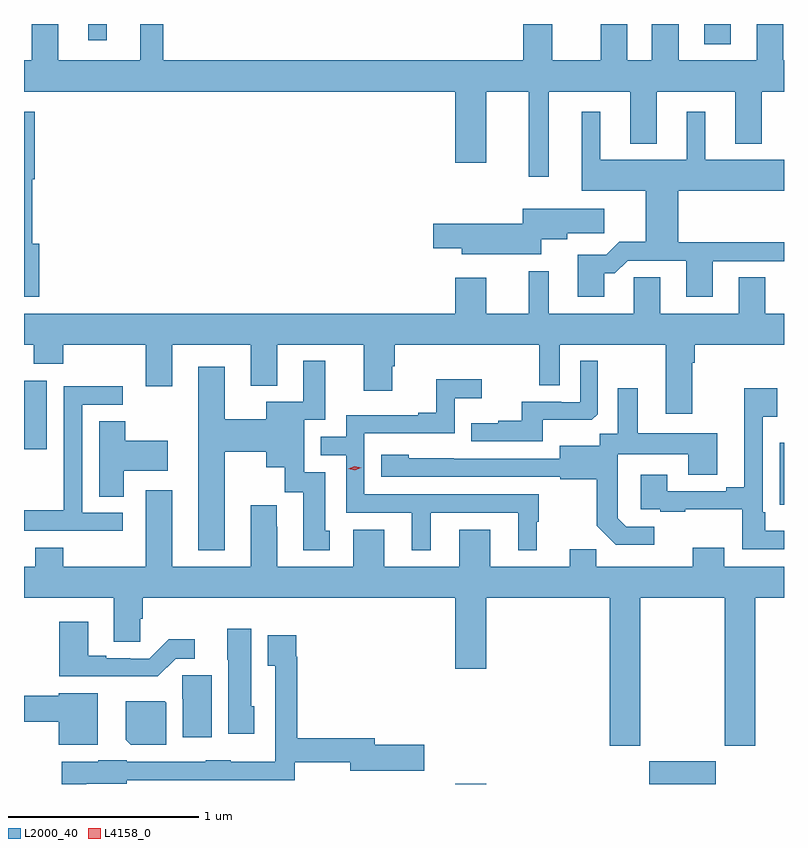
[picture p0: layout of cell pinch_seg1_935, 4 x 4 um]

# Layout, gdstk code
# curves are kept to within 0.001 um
import gdstk
lib = gdstk.Library(unit=1e-6, precision=1e-09)
def R(c, l, rs):  # rectangles x0, y0, x1, y1
    for r in rs: c.add(gdstk.rectangle(r[:2], r[2:], *l))
def P(c, l, *ps):  # polygons
    for p in ps: c.add(gdstk.Polygon(p, *l))
L2000_40 = (2000, 40)
L4158_0 = (4158, 0)

pinch_seg1_935 = lib.new_cell('pinch_seg1_935')
R(pinch_seg1_935, L2000_40, [(153.02,534.768,153.184,534.769), (154.04,534.768,154.39,534.889), (154.728,536.237,154.75,536.563), (150.75,536.529,150.871,536.89), (154.331,538.661,154.471,538.768), (151.088,538.683,151.186,538.768)])
P(pinch_seg1_935, L2000_40, [(153.511,538.412),(153.941,538.412),(153.941,538.139),(154.081,538.139),(154.081,538.412),(154.493,538.412),(154.493,538.139),(154.633,538.139),(154.633,538.412),(154.75,538.412),(154.75,538.576),(154.747,538.576),(154.747,538.768),(154.607,538.768),(154.607,538.576),(154.195,538.576),(154.195,538.768),(154.055,538.768),(154.055,538.576),(153.925,538.576),(153.925,538.768),(153.785,538.768),(153.785,538.576),(153.529,538.576),(153.529,538.768),(153.377,538.768),(153.377,538.576),(151.483,538.576),(151.483,538.768),(151.361,538.768),(151.361,538.576),(150.931,538.576),(150.931,538.768),(150.791,538.768),(150.791,538.576),(150.75,538.576),(150.75,538.412),(153.02,538.412),(153.02,538.038),(153.184,538.038),(153.184,538.412),(153.407,538.412),(153.407,537.963),(153.511,537.963)],
  [(153.805,537.455),(153.86,537.455),(153.927,537.522),(154.235,537.522),(154.235,537.333),(154.375,537.333),(154.375,537.519),(154.75,537.519),(154.75,537.62),(154.193,537.62),(154.193,537.89),(154.75,537.89),(154.75,538.054),(154.336,538.054),(154.336,538.306),(154.238,538.306),(154.238,538.054),(153.784,538.054),(153.784,538.306),(153.686,538.306),(153.686,537.89),(154.022,537.89),(154.022,537.623),(153.884,537.623),(153.814,537.553),(153.665,537.553),(153.665,537.333),(153.805,537.333)],
  [(150.83,537.612),(150.793,537.612),(150.793,537.95),(150.806,537.95),(150.806,538.306),(150.75,538.306),(150.75,537.333),(150.83,537.333)],
  [(153.472,537.635),(153.61,537.635),(153.61,537.667),(153.805,537.667),(153.805,537.796),(153.374,537.796),(153.374,537.717),(152.904,537.717),(152.904,537.587),(153.053,537.587),(153.053,537.557),(153.472,537.557)],
  [(154.267,536.984),(154.28,536.984),(154.28,537.08),(154.75,537.08),(154.75,537.244),(154.651,537.244),(154.651,537.434),(154.511,537.434),(154.511,537.244),(154.099,537.244),(154.099,537.434),(153.96,537.434),(153.96,537.244),(153.511,537.244),(153.511,537.466),(153.407,537.466),(153.407,537.244),(153.184,537.244),(153.184,537.433),(153.02,537.433),(153.02,537.244),(150.75,537.244),(150.75,537.08),(150.802,537.08),(150.802,536.981),(150.957,536.981),(150.957,537.08),(151.391,537.08),(151.391,536.862),(151.531,536.862),(151.531,537.08),(151.943,537.08),(151.943,536.864),(152.083,536.864),(152.083,537.08),(152.537,537.08),(152.537,536.838),(152.689,536.838),(152.689,536.967),(152.702,536.967),(152.702,537.08),(153.462,537.08),(153.462,536.866),(153.57,536.866),(153.57,537.08),(154.127,537.08),(154.127,536.718),(154.267,536.718)],
  [(151.807,536.516),(152.024,536.516),(152.024,536.435),(152.123,536.435),(152.123,536.304),(152.219,536.304),(152.219,535.998),(152.359,535.998),(152.359,536.1),(152.335,536.1),(152.335,536.409),(152.226,536.409),(152.226,536.685),(152.335,536.685),(152.335,536.995),(152.219,536.995),(152.219,536.779),(152.024,536.779),(152.024,536.688),(151.807,536.688),(151.807,536.965),(151.667,536.965),(151.667,535.997),(151.807,535.997)],
  [(153.481,536.684),(153.739,536.684),(153.771,536.715),(153.771,536.995),(153.678,536.995),(153.678,536.778),(153.578,536.778),(153.578,536.781),(153.371,536.781),(153.371,536.68),(153.247,536.68),(153.247,536.668),(153.103,536.668),(153.103,536.571),(153.481,536.571)],
  [(152.89,536.196),(153.35,536.196),(153.35,535.997),(153.448,535.997),(153.448,536.148),(153.46,536.148),(153.46,536.292),(152.541,536.292),(152.541,536.613),(153.018,536.613),(153.018,536.798),(153.16,536.798),(153.16,536.897),(152.92,536.897),(152.92,536.722),(152.825,536.722),(152.825,536.709),(152.445,536.709),(152.445,536.595),(152.312,536.595),(152.312,536.499),(152.445,536.499),(152.445,536.196),(152.792,536.196),(152.792,535.997),(152.89,535.997)],
  [(151.27,536.196),(151.056,536.196),(151.056,536.763),(151.27,536.763),(151.27,536.862),(150.96,536.862),(150.96,536.432),(150.958,536.432),(150.958,536.209),(150.75,536.209),(150.75,536.1),(151.27,536.1)],
  [(154.75,536.101),(154.651,536.101),(154.651,536.197),(154.638,536.197),(154.638,536.702),(154.714,536.702),(154.714,536.851),(154.541,536.851),(154.541,536.329),(154.445,536.329),(154.445,536.31),(154.135,536.31),(154.135,536.395),(153.995,536.395),(153.995,536.214),(154.099,536.214),(154.099,536.202),(154.231,536.202),(154.231,536.213),(154.53,536.213),(154.53,536.004),(154.75,536.004)],
  [(154.066,536.121),(153.921,536.121),(153.874,536.168),(153.874,536.263),(153.876,536.263),(153.876,536.504),(154.247,536.504),(154.247,536.395),(154.399,536.395),(154.399,536.614),(153.979,536.614),(153.979,536.851),(153.875,536.851),(153.875,536.612),(153.78,536.612),(153.78,536.548),(153.569,536.548),(153.569,536.481),(152.775,536.482),(152.775,536.5),(152.631,536.5),(152.631,536.385),(153.573,536.385),(153.573,536.373),(153.765,536.373),(153.765,536.127),(153.865,536.027),(154.066,536.027)],
  [(151.276,536.417),(151.507,536.417),(151.507,536.575),(151.284,536.575),(151.284,536.678),(151.145,536.678),(151.145,536.281),(151.276,536.281)],
  [(153.993,535.748),(154.438,535.748),(154.438,534.969),(154.598,534.969),(154.598,535.748),(154.75,535.748),(154.75,535.912),(154.435,535.912),(154.435,536.011),(154.271,536.011),(154.271,535.912),(153.761,535.912),(153.761,536.003),(153.623,536.003),(153.623,535.912),(153.205,535.912),(153.205,536.107),(153.041,536.107),(153.041,535.912),(152.647,535.912),(152.647,536.107),(152.483,536.107),(152.483,535.912),(152.083,535.912),(152.083,536.123),(152.08,536.123),(152.08,536.236),(151.943,536.236),(151.943,535.912),(151.531,535.912),(151.531,536.314),(151.391,536.314),(151.391,535.912),(150.957,535.912),(150.957,536.011),(150.809,536.011),(150.809,535.912),(150.75,535.912),(150.75,535.748),(151.223,535.748),(151.223,535.516),(151.362,535.516),(151.362,535.638),(151.376,535.638),(151.376,535.748),(153.02,535.748),(153.02,535.374),(153.184,535.374),(153.184,535.748),(153.833,535.748),(153.833,534.969),(153.993,534.969)],
  [(151.548,535.428),(151.648,535.428),(151.648,535.531),(151.513,535.531),(151.41,535.428),(151.31,535.428),(151.31,535.431),(151.183,535.431),(151.183,535.444),(151.087,535.444),(151.087,535.621),(150.935,535.621),(150.935,535.334),(151.453,535.334)],
  [(151.963,535.176),(151.945,535.176),(151.945,535.585),(151.82,535.585),(151.82,535.422),(151.826,535.422),(151.826,535.032),(151.963,535.032)],
  [(151.078,534.77),(151.29,534.77),(151.29,534.789),(151.707,534.789),(151.707,534.788),(151.939,534.788),(151.939,534.789),(152.174,534.789),(152.174,534.882),(152.468,534.882),(152.468,534.839),(152.857,534.839),(152.857,534.974),(152.596,534.974),(152.596,535.01),(152.189,535.01),(152.189,535.439),(152.182,535.439),(152.182,535.552),(152.033,535.552),(152.033,535.391),(152.073,535.391),(152.073,534.886),(151.839,534.886),(151.839,534.892),(151.707,534.892),(151.707,534.885),(151.29,534.885),(151.29,534.892),(151.14,534.892),(151.14,534.886),(150.949,534.886),(150.949,534.768),(151.078,534.768)],
  [(151.738,535.341),(151.582,535.341),(151.582,535.218),(151.586,535.218),(151.586,535.014),(151.738,535.014)],
  [(151.138,535.246),(150.932,535.246),(150.932,535.232),(150.75,535.232),(150.75,535.096),(150.932,535.096),(150.932,534.974),(151.138,534.974)],
  [(151.498,535.196),(151.49,535.204),(151.286,535.204),(151.286,535),(151.312,534.974),(151.498,534.974)])
P(pinch_seg1_935, L4158_0, [(152.492,536.42),(152.456,536.427),(152.456,536.427),(152.456,536.427),(152.49,536.44),(152.525,536.433),(152.525,536.432),(152.525,536.432)])

lib.write_gds('pinch_seg1_935.gds')
